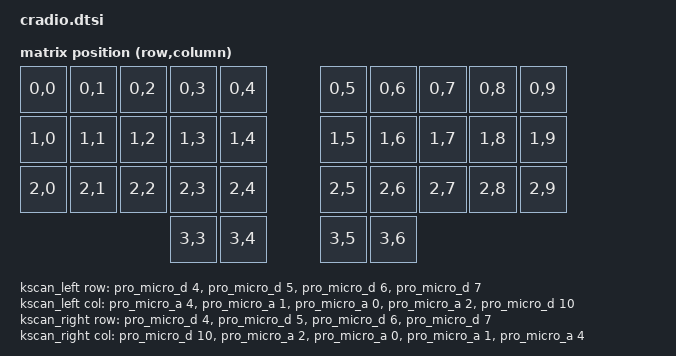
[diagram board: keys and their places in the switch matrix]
/*
 * Copyright (c) 2020 The ZMK Contributors
 *
 * SPDX-License-Identifier: MIT
 */

#include <dt-bindings/zmk/matrix_transform.h>
#include <layouts/cuddlykeyboards/ferris.dtsi>

&cuddlykeyboards_ferris_layout {
    transform = <&matrix_transform>;
};

/ {
    chosen {
        zmk,kscan = &kscan0;
    };

    matrix_transform: matrix_transform {
        compatible = "zmk,matrix-transform";
        rows = <4>;
        columns = <10>;

        map = <
        RC(0,0) RC(0,1) RC(0,2) RC(0,3) RC(0,4)     RC(0,5) RC(0,6) RC(0,7) RC(0,8) RC(0,9)
        RC(1,0) RC(1,1) RC(1,2) RC(1,3) RC(1,4)     RC(1,5) RC(1,6) RC(1,7) RC(1,8) RC(1,9)
        RC(2,0) RC(2,1) RC(2,2) RC(2,3) RC(2,4)     RC(2,5) RC(2,6) RC(2,7) RC(2,8) RC(2,9)
                               RC(3,3)  RC(3,4)     RC(3,5) RC(3,6)
        >;
    };

    kscan_left: kscan_left {
        compatible = "zmk,kscan-gpio-matrix";

        diode-direction = "col2row";

        // Rows: Q row = D4, then D5, D6, D7
        row-gpios
        = <&pro_micro_d 4 (GPIO_ACTIVE_HIGH | GPIO_PULL_DOWN)>
        , <&pro_micro_d 5 (GPIO_ACTIVE_HIGH | GPIO_PULL_DOWN)>
        , <&pro_micro_d 6 (GPIO_ACTIVE_HIGH | GPIO_PULL_DOWN)>
        , <&pro_micro_d 7 (GPIO_ACTIVE_HIGH | GPIO_PULL_DOWN)>
        ;

        // Cols (left → right):
        // D18 (A4), D15 (A1), D14 (A0), D16 (A2), D10
        col-gpios
        = <&pro_micro_a 4 GPIO_ACTIVE_HIGH>   /* D18 / A4 */
        , <&pro_micro_a 1 GPIO_ACTIVE_HIGH>   /* D15 / A1 */
        , <&pro_micro_a 0 GPIO_ACTIVE_HIGH>   /* D14 / A0 */
        , <&pro_micro_a 2 GPIO_ACTIVE_HIGH>   /* D16 / A2 */
        , <&pro_micro_d 10 GPIO_ACTIVE_HIGH>  /* D10 */
        ;
    };

    kscan_right: kscan_right {
        compatible = "zmk,kscan-gpio-matrix";

        diode-direction = "row2col";

        // Rows: Q row = D4, then D5, D6, D7
        row-gpios
        = <&pro_micro_d 4 (GPIO_ACTIVE_HIGH | GPIO_PULL_DOWN)>
        , <&pro_micro_d 5 (GPIO_ACTIVE_HIGH | GPIO_PULL_DOWN)>
        , <&pro_micro_d 6 (GPIO_ACTIVE_HIGH | GPIO_PULL_DOWN)>
        , <&pro_micro_d 7 (GPIO_ACTIVE_HIGH | GPIO_PULL_DOWN)>
        ;

        // Cols (left → right):
        // D10, D16 (A2), D14 (A0), D15 (A1), D18 (A4)
        col-gpios
        = <&pro_micro_d 10 GPIO_ACTIVE_HIGH>  /* D10 */
        , <&pro_micro_a 2 GPIO_ACTIVE_HIGH>   /* D16 / A2 */
        , <&pro_micro_a 0 GPIO_ACTIVE_HIGH>   /* D14 / A0 */
        , <&pro_micro_a 1 GPIO_ACTIVE_HIGH>   /* D15 / A1 */
        , <&pro_micro_a 4 GPIO_ACTIVE_HIGH>   /* D18 / A4 */
        ;
    };
};
